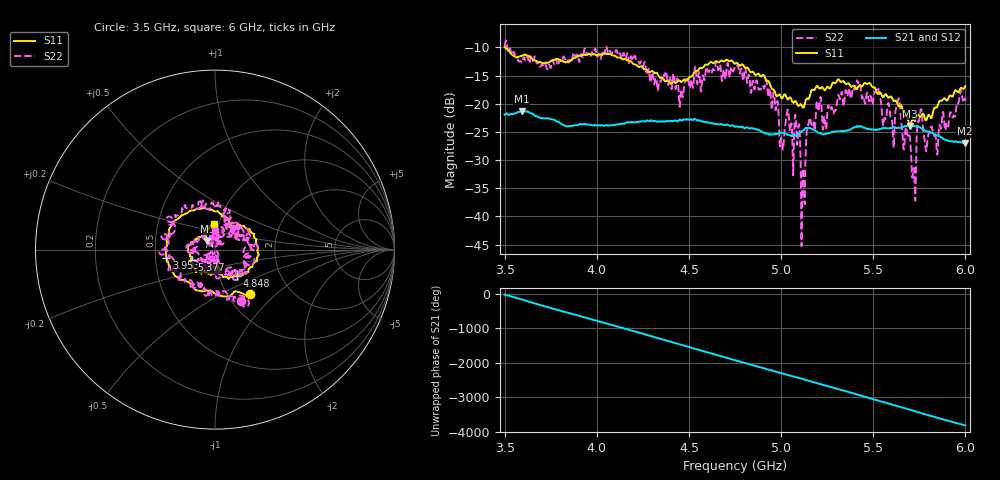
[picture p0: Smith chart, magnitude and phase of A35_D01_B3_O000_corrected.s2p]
! Created with skrf 1.9.0 (http://scikit-rf.org).
# Hz S RI R 50.0
!freq ReS11 ImS11 ReS21 ImS21 ReS12 ImS12 ReS22 ImS22
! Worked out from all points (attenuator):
!   1601 points, 3.5 GHz to 6 GHz, reference 50 ohm
!   highest |S21| = -21.32 dB at 3.592 GHz (marker M1); lowest = -27.0 dB at 5.997 GHz (marker M2)
!   lowest |S11| = -23.9 dB at 5.698 GHz (marker M3), VSWR 1.14, Z = 45.8 + j4.38 ohm
!   |S11| at or under -10 dB: 3.501 GHz to end of sweep
!   |S22| runs from -45.3 to -8.8 dB; largest |S21 - S12| = 0.0012
!   S11 on the Smith chart (normalised r, x): 3.5 GHz: 1.27, -0.70; 3.953 GHz: 0.57, -0.06; 4.848 GHz: 1.22, -0.37; 5.377 GHz: 0.77, -0.09; 6 GHz: 0.95, +0.28
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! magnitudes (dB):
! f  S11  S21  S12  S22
! 3.5 GHz  -10.0  -22.0  -22.0  -9.8
! 3.592 GHz  -11.5  -21.3  -21.3  -12.7
! 3.917 GHz  -11.5  -23.7  -23.7  -11.2
! 3.953 GHz  -11.2  -23.7  -23.7  -11.0
! 4.334 GHz  -15.0  -23.1  -23.1  -17.1
! 4.75 GHz  -12.9  -24.1  -24.0  -13.4
! 4.848 GHz  -14.4  -24.4  -24.3  -16.0
! 4.97 GHz  -18.3  -25.4  -25.3  -21.2
! 5.003 GHz  -19.0  -25.2  -25.2  -26.3
! 5.088 GHz  -20.1  -25.5  -25.5  -27.3
! 5.119 GHz  -20.7  -24.8  -24.7  -31.5
! 5.147 GHz  -19.2  -24.3  -24.3  -23.8
! 5.167 GHz  -17.5  -24.5  -24.4  -23.7
! 5.377 GHz  -16.9  -24.6  -24.6  -18.7
! 5.584 GHz  -18.9  -24.4  -24.4  -20.0
! 5.636 GHz  -20.4  -24.2  -24.2  -19.2
! 5.698 GHz  -23.9  -23.9  -23.9  -25.7
! 5.72 GHz  -22.9  -24.0  -23.9  -31.4
! 5.753 GHz  -22.3  -24.2  -24.2  -22.0
! 5.841 GHz  -20.7  -25.5  -25.5  -26.3
! 5.997 GHz  -17.0  -27.0  -27.0  -18.9
! 6 GHz  -16.9  -27.0  -27.0  -19.5
